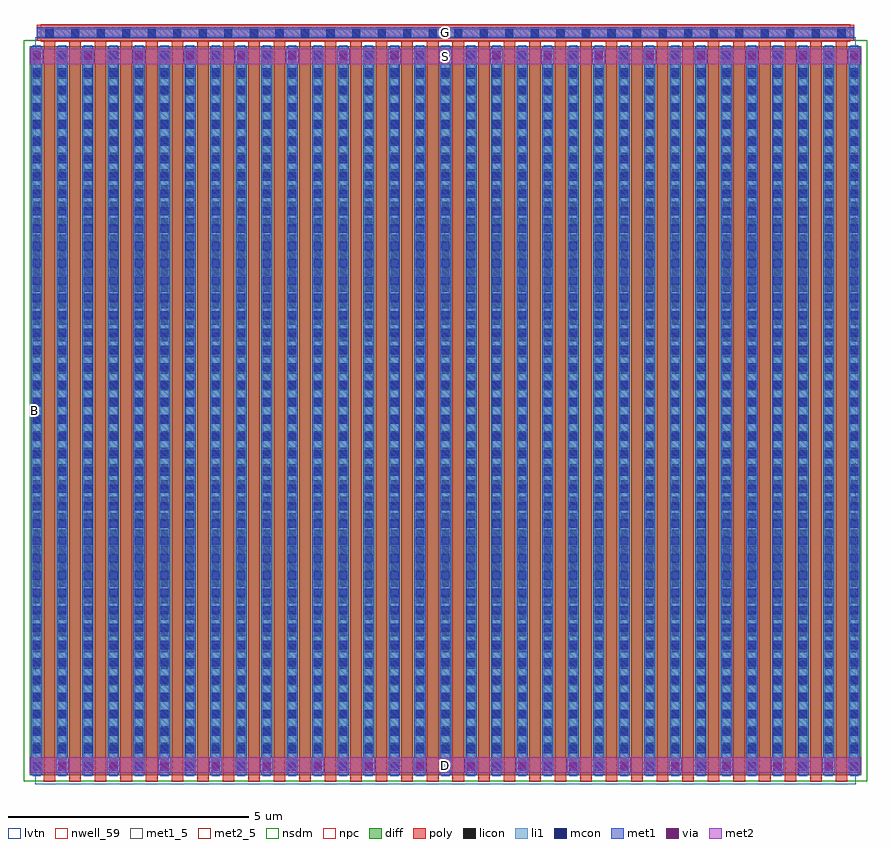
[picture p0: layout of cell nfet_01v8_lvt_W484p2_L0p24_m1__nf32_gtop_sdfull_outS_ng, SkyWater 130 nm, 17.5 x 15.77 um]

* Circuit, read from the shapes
.subckt nfet_01v8_lvt_W484p2_L0p24_m1__nf32_gtop_sdfull_outS_ng B D G S
XM1 D G S B sky130_fd_pr__nfet_01v8_lvt w=15.13 l=0.24 m=32
.ends

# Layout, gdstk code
import gdstk
lib = gdstk.Library(unit=1e-6, precision=1e-09)
def R(c, l, rs):  # rectangles x0, y0, x1, y1
    for r in rs: c.add(gdstk.rectangle(r[:2], r[2:], *l))
def A(c, l, x, y, w, h, nx, ny, dx, dy):  # array of equal rectangles
    R(c, l, [(x+i*dx, y+j*dy, x+i*dx+w, y+j*dy+h) for i in range(nx) for j in range(ny)])
nwell_59 = (64, 59)
diff = (65, 20)
poly = (66, 20)
licon = (66, 44)
li1 = (67, 20)
mcon = (67, 44)
met1_5 = (68, 5)
met1 = (68, 20)
via = (68, 44)
met2_5 = (69, 5)
met2 = (69, 20)
nsdm = (93, 44)
npc = (95, 20)
lvtn = (125, 44)

sky130_fd_pr__nfet_01v8_ = lib.new_cell('sky130_fd_pr__nfet_01v8_lvt_ZKX6B3')
R(sky130_fd_pr__nfet_01v8_, diff, [(-8.625,-7.72,8.625,7.41)])
A(sky130_fd_pr__nfet_01v8_, poly, -8.335, -7.85, 0.24, 15.37, 32, 1, 0.53, 0)
R(sky130_fd_pr__nfet_01v8_, poly, [(-8.48,7.52,8.48,7.85)])
A(sky130_fd_pr__nfet_01v8_, licon, -8.565, -7.55, 0.17, 0.17, 33, 44, 0.53, 0.34)
A(sky130_fd_pr__nfet_01v8_, licon, -8.3, 7.6, 0.17, 0.17, 32, 1, 0.53, 0)
A(sky130_fd_pr__nfet_01v8_, li1, -8.565, -7.74, 0.17, 15.17, 33, 1, 0.53, 0)
R(sky130_fd_pr__nfet_01v8_, li1, [(-8.48,7.6,8.48,7.77)])
A(sky130_fd_pr__nfet_01v8_, mcon, -8.565, -7.62, 0.17, 0.17, 33, 42, 0.53, 0.36)
A(sky130_fd_pr__nfet_01v8_, mcon, -8.3, 7.6, 0.17, 0.17, 32, 1, 0.53, 0)
A(sky130_fd_pr__nfet_01v8_, met1, -8.595, -7.72, 0.23, 15.13, 33, 1, 0.53, 0)
A(sky130_fd_pr__nfet_01v8_, met1, -8.36, 7.57, 0.29, 0.03, 32, 2, 0.53, 0.2)
R(sky130_fd_pr__nfet_01v8_, met1, [(-8.48,7.6,8.48,7.77)])
R(sky130_fd_pr__nfet_01v8_, nsdm, [(-8.75,-7.845,8.75,7.535)])
R(sky130_fd_pr__nfet_01v8_, npc, [(-8.4,7.5,8.4,7.87)])
R(sky130_fd_pr__nfet_01v8_, lvtn, [(-8.515,-7.9,8.515,7.59)])
sky130_fd_pr__nfet_01v8_.add(gdstk.Label('D0', (-8.48,-0.155), layer=67, texttype=5))
sky130_fd_pr__nfet_01v8_.add(gdstk.Label('G', (8.215,7.685), layer=67, texttype=5))
sky130_fd_pr__nfet_01v8_.add(gdstk.Label('G', (7.685,7.685), layer=67, texttype=5))
sky130_fd_pr__nfet_01v8_.add(gdstk.Label('G', (7.155,7.685), layer=67, texttype=5))
sky130_fd_pr__nfet_01v8_.add(gdstk.Label('G', (6.625,7.685), layer=67, texttype=5))
sky130_fd_pr__nfet_01v8_.add(gdstk.Label('G', (6.095,7.685), layer=67, texttype=5))
sky130_fd_pr__nfet_01v8_.add(gdstk.Label('G', (5.565,7.685), layer=67, texttype=5))
sky130_fd_pr__nfet_01v8_.add(gdstk.Label('G', (5.035,7.685), layer=67, texttype=5))
sky130_fd_pr__nfet_01v8_.add(gdstk.Label('G', (4.505,7.685), layer=67, texttype=5))
sky130_fd_pr__nfet_01v8_.add(gdstk.Label('G', (3.975,7.685), layer=67, texttype=5))
sky130_fd_pr__nfet_01v8_.add(gdstk.Label('G', (3.445,7.685), layer=67, texttype=5))
sky130_fd_pr__nfet_01v8_.add(gdstk.Label('G', (2.915,7.685), layer=67, texttype=5))
sky130_fd_pr__nfet_01v8_.add(gdstk.Label('G', (2.385,7.685), layer=67, texttype=5))
sky130_fd_pr__nfet_01v8_.add(gdstk.Label('G', (1.855,7.685), layer=67, texttype=5))
sky130_fd_pr__nfet_01v8_.add(gdstk.Label('G', (1.325,7.685), layer=67, texttype=5))
sky130_fd_pr__nfet_01v8_.add(gdstk.Label('G', (0.795,7.685), layer=67, texttype=5))
sky130_fd_pr__nfet_01v8_.add(gdstk.Label('G', (0.265,7.685), layer=67, texttype=5))
sky130_fd_pr__nfet_01v8_.add(gdstk.Label('G', (-0.265,7.685), layer=67, texttype=5))
sky130_fd_pr__nfet_01v8_.add(gdstk.Label('G', (-0.795,7.685), layer=67, texttype=5))
sky130_fd_pr__nfet_01v8_.add(gdstk.Label('G', (-1.325,7.685), layer=67, texttype=5))
sky130_fd_pr__nfet_01v8_.add(gdstk.Label('G', (-1.855,7.685), layer=67, texttype=5))
sky130_fd_pr__nfet_01v8_.add(gdstk.Label('G', (-2.385,7.685), layer=67, texttype=5))
sky130_fd_pr__nfet_01v8_.add(gdstk.Label('G', (-2.915,7.685), layer=67, texttype=5))
sky130_fd_pr__nfet_01v8_.add(gdstk.Label('G', (-3.445,7.685), layer=67, texttype=5))
sky130_fd_pr__nfet_01v8_.add(gdstk.Label('G', (-3.975,7.685), layer=67, texttype=5))
sky130_fd_pr__nfet_01v8_.add(gdstk.Label('G', (-4.505,7.685), layer=67, texttype=5))
sky130_fd_pr__nfet_01v8_.add(gdstk.Label('G', (-5.035,7.685), layer=67, texttype=5))
sky130_fd_pr__nfet_01v8_.add(gdstk.Label('G', (-5.565,7.685), layer=67, texttype=5))
sky130_fd_pr__nfet_01v8_.add(gdstk.Label('G', (-6.095,7.685), layer=67, texttype=5))
sky130_fd_pr__nfet_01v8_.add(gdstk.Label('G', (-6.625,7.685), layer=67, texttype=5))
sky130_fd_pr__nfet_01v8_.add(gdstk.Label('G', (-7.155,7.685), layer=67, texttype=5))
sky130_fd_pr__nfet_01v8_.add(gdstk.Label('G', (-7.685,7.685), layer=67, texttype=5))
sky130_fd_pr__nfet_01v8_.add(gdstk.Label('G', (-8.215,7.685), layer=67, texttype=5))
sky130_fd_pr__nfet_01v8_.add(gdstk.Label('S1', (-7.95,-0.155), layer=67, texttype=5))
sky130_fd_pr__nfet_01v8_.add(gdstk.Label('D2', (-7.42,-0.155), layer=67, texttype=5))
sky130_fd_pr__nfet_01v8_.add(gdstk.Label('S3', (-6.89,-0.155), layer=67, texttype=5))
sky130_fd_pr__nfet_01v8_.add(gdstk.Label('D4', (-6.36,-0.155), layer=67, texttype=5))
sky130_fd_pr__nfet_01v8_.add(gdstk.Label('S5', (-5.83,-0.155), layer=67, texttype=5))
sky130_fd_pr__nfet_01v8_.add(gdstk.Label('D6', (-5.3,-0.155), layer=67, texttype=5))
sky130_fd_pr__nfet_01v8_.add(gdstk.Label('S7', (-4.77,-0.155), layer=67, texttype=5))
sky130_fd_pr__nfet_01v8_.add(gdstk.Label('D8', (-4.24,-0.155), layer=67, texttype=5))
sky130_fd_pr__nfet_01v8_.add(gdstk.Label('S9', (-3.71,-0.155), layer=67, texttype=5))
sky130_fd_pr__nfet_01v8_.add(gdstk.Label('D10', (-3.18,-0.155), layer=67, texttype=5))
sky130_fd_pr__nfet_01v8_.add(gdstk.Label('S11', (-2.65,-0.155), layer=67, texttype=5))
sky130_fd_pr__nfet_01v8_.add(gdstk.Label('D12', (-2.12,-0.155), layer=67, texttype=5))
sky130_fd_pr__nfet_01v8_.add(gdstk.Label('S13', (-1.59,-0.155), layer=67, texttype=5))
sky130_fd_pr__nfet_01v8_.add(gdstk.Label('D14', (-1.06,-0.155), layer=67, texttype=5))
sky130_fd_pr__nfet_01v8_.add(gdstk.Label('S15', (-0.53,-0.155), layer=67, texttype=5))
sky130_fd_pr__nfet_01v8_.add(gdstk.Label('D16', (0,-0.155), layer=67, texttype=5))
sky130_fd_pr__nfet_01v8_.add(gdstk.Label('S17', (0.53,-0.155), layer=67, texttype=5))
sky130_fd_pr__nfet_01v8_.add(gdstk.Label('D18', (1.06,-0.155), layer=67, texttype=5))
sky130_fd_pr__nfet_01v8_.add(gdstk.Label('S19', (1.59,-0.155), layer=67, texttype=5))
sky130_fd_pr__nfet_01v8_.add(gdstk.Label('D20', (2.12,-0.155), layer=67, texttype=5))
sky130_fd_pr__nfet_01v8_.add(gdstk.Label('S21', (2.65,-0.155), layer=67, texttype=5))
sky130_fd_pr__nfet_01v8_.add(gdstk.Label('D22', (3.18,-0.155), layer=67, texttype=5))
sky130_fd_pr__nfet_01v8_.add(gdstk.Label('S23', (3.71,-0.155), layer=67, texttype=5))
sky130_fd_pr__nfet_01v8_.add(gdstk.Label('D24', (4.24,-0.155), layer=67, texttype=5))
sky130_fd_pr__nfet_01v8_.add(gdstk.Label('S25', (4.77,-0.155), layer=67, texttype=5))
sky130_fd_pr__nfet_01v8_.add(gdstk.Label('D26', (5.3,-0.155), layer=67, texttype=5))
sky130_fd_pr__nfet_01v8_.add(gdstk.Label('S27', (5.83,-0.155), layer=67, texttype=5))
sky130_fd_pr__nfet_01v8_.add(gdstk.Label('D28', (6.36,-0.155), layer=67, texttype=5))
sky130_fd_pr__nfet_01v8_.add(gdstk.Label('S29', (6.89,-0.155), layer=67, texttype=5))
sky130_fd_pr__nfet_01v8_.add(gdstk.Label('D30', (7.42,-0.155), layer=67, texttype=5))
sky130_fd_pr__nfet_01v8_.add(gdstk.Label('S31', (7.95,-0.155), layer=67, texttype=5))

nfet_01v8_lvt_w484p2_l0p = lib.new_cell('nfet_01v8_lvt_W484p2_L0p24_m1__nf32_gtop_sdfull_outS_ng')
R(nfet_01v8_lvt_w484p2_l0p, nwell_59, [(0.05,7.645,0.15,7.745)])
R(nfet_01v8_lvt_w484p2_l0p, met1_5, [(0.145,15.42,17.105,15.65)])
A(nfet_01v8_lvt_w484p2_l0p, met1, 0.545, 0.18, 0.26, 0.32, 16, 1, 1.06, 0)
A(nfet_01v8_lvt_w484p2_l0p, met1, 0.015, 14.89, 0.26, 0.32, 17, 1, 1.06, 0)
R(nfet_01v8_lvt_w484p2_l0p, met1, [(0.145,15.42,17.105,15.65)])
A(nfet_01v8_lvt_w484p2_l0p, via, 0.6, 0.265, 0.15, 0.15, 16, 1, 1.06, 0)
A(nfet_01v8_lvt_w484p2_l0p, via, 0.07, 14.975, 0.15, 0.15, 17, 1, 1.06, 0)
R(nfet_01v8_lvt_w484p2_l0p, met2_5, [(0.01,0.18,17.24,0.5), (0.01,14.89,17.24,15.21)])
R(nfet_01v8_lvt_w484p2_l0p, met2, [(0.01,0.18,17.24,0.5), (0.01,14.89,17.24,15.21)])
nfet_01v8_lvt_w484p2_l0p.add(gdstk.Reference(sky130_fd_pr__nfet_01v8_, (8.625,7.85)))
nfet_01v8_lvt_w484p2_l0p.add(gdstk.Label('S', (8.625,15.05), layer=69, texttype=5))
nfet_01v8_lvt_w484p2_l0p.add(gdstk.Label('D', (8.625,0.34), layer=69, texttype=5))
nfet_01v8_lvt_w484p2_l0p.add(gdstk.Label('G', (8.625,15.535), layer=68, texttype=5))
nfet_01v8_lvt_w484p2_l0p.add(gdstk.Label('B', (0.1,7.695), layer=64, texttype=59))

lib.write_gds('nfet_01v8_lvt_W484p2_L0p24_m1__nf32_gtop_sdfull_outS_ng.gds')
